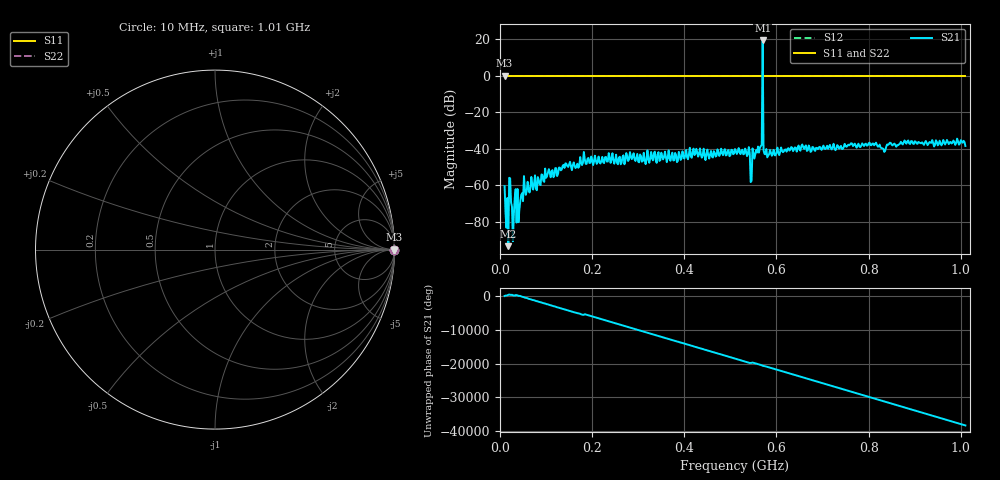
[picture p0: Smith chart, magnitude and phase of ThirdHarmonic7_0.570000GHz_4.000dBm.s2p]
! 8/17/2025 5:35:17 PM
! C:\ANRITSUVNA\TEMP\TEMP.S2P
! CHANNEL.1
! TR.MEASUREMENT
! RAW.DATA
! RF.CORRECTION.OFF
! AVERAGING.OFF
! IF.BANDWIDTH: 5KHZ
! SWEEPTYPE:  FREQ.SWEEP(Linear)
! Reference Plane Port Info
! PORT:  PORT1  PORT2
! DISTANCE:  0  m  0  m
! TIME:  0  s  0  s
! PHASE.OFFSET:  0  deg.  0  deg.
! LOSS:  0  dB  0  dB
! REF.LOSS:  0  dB  0  dB
! REF.FREQ:  0  Hz  0  Hz
! Power Info
! POWER:  -20  dBm  -20  dBm
! EFF.POWER:  -20  dBm  -20  dBm
! SOURCE.ATTEN:  0  dB  0  dB
! TEST.ATTEN:  0  dB  0  dB
# GHZ S RI R 50.0
! FREQ.GHZ  S11RE  S11IM  S21RE  S21IM  S12RE  S12IM  S22RE  S22IM
!; PortSelection: Port_12
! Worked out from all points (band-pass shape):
!   501 points, 10 MHz to 1.01 GHz, reference 50 ohm
!   highest |S21| = 19.24 dB at 570 MHz (marker M1); lowest = -93.5 dB at 18 MHz (marker M2)
!   |S21| within 3 dB of the highest: 569.8952 MHz to 570.0995 MHz (204.3 kHz wide, 0.0358 % of centre)
!   lowest |S11| = 0.0 dB at 10 MHz (marker M3)
!   |S11| at or under -10 dB: nowhere
!   |S22| runs from 0.0 to 0.0 dB; largest |S21 - S12| = 10
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0.01  1 0  0.000366 -0.000857  1 0  1 0
0.014  1 0  5.14e-05 4.43e-05  1 0  1 0
0.018  1 0  -1.8e-05 -1.12e-05  1 0  1 0
0.04  1 0  5.57e-05 -7.85e-05  1 0  1 0
0.056  1 0  -0.000163 0.000517  1 0  1 0
0.178  1 0  -0.00347 -0.000661  1 0  1 0
0.344  1 0  0.00768 -0.00214  1 0  1 0
0.51  1 0  -0.00956 -0.00157  1 0  1 0
0.536  1 0  -0.00525 -0.00336  1 0  1 0
0.542  1 0  0.00611 -0.00442  1 0  1 0
0.548  1 0  -0.00148 0.00998  1 0  1 0
0.552  1 0  0.00291 -0.00443  1 0  1 0
0.564  1 0  -0.00997 -0.00348  1 0  1 0
0.566  1 0  -0.00199 0.0116  1 0  1 0
0.57  1 0  -7.501 -5.254  1 0  1 0
0.574  1 0  -0.00442 0.00563  1 0  1 0
0.576  1 0  0.00343 0.00606  1 0  1 0
0.678  1 0  0.00381 -0.0104  1 0  1 0
0.812  1 0  0.00498 -0.0112  1 0  1 0
0.832  1 0  -0.00863 -0.00476  1 0  1 0
0.844  1 0  -0.00338 0.0128  1 0  1 0
1.01  1 0  -0.00295 -0.0114  1 0  1 0
